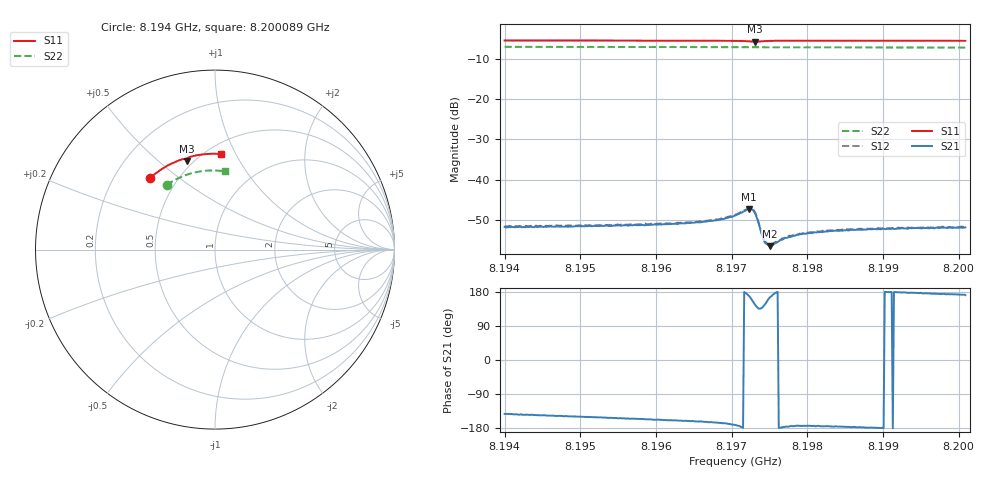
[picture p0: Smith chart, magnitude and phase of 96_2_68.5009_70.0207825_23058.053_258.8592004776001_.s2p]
#  HZ  S  RI  R  50.00
! Rohde & Schwarz Vector Network Analyzer
! Rohde-Schwarz,ZNB20-2Port,1311601062101988,3.16
! Created: UTC 3/20/2024, 4:52:51 PM
! freq[Hz]  re:S11  im:S11  re:S21  im:S21  re:S12  im:S12  re:S22  im:S22
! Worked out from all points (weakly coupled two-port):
!   401 points, 8.194 GHz to 8.200089 GHz, reference 50 ohm
!   highest |S21| = -47.29 dB at 8.197227 GHz (marker M1); lowest = -56.6 dB at 8.197501 GHz (marker M2)
!   lowest |S11| = -5.7 dB at 8.197303 GHz (marker M3), VSWR 3.16, Z = 23.1 + j31.2 ohm
!   |S11| at or under -10 dB: nowhere
!   |S22| runs from -7.2 to -7.0 dB; largest |S21 - S12| = 0.00023
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8.1940004e9  -0.3634 0.3977  -0.00204 -0.00157  -0.00212 -0.00158  -0.2688 0.3598
8.1950202e9  -0.3067 0.4421  -0.00227 -0.00131  -0.00235 -0.00126  -0.2204 0.3896
8.19604e9  -0.244 0.4784  -0.00256 -0.00106  -0.00264 -0.00095  -0.1685 0.4128
8.1966641e9  -0.2025 0.4964  -0.00288 -0.000872  -0.00299 -0.000758  -0.1352 0.424
8.1968467e9  -0.1893 0.5009  -0.00308 -0.000774  -0.00318 -0.000643  -0.1253 0.4267
8.1970446e9  -0.1736 0.5046  -0.00353 -0.000523  -0.00364 -0.000382  -0.1143 0.4293
8.1972273e9  -0.1569 0.5009  -0.00424 0.000812  -0.00427 0.000979  -0.1044 0.4312
8.1972729e9  -0.1557 0.4967  -0.00394 0.00163  -0.00392 0.00185  -0.1019 0.4316
8.1973034e9  -0.1573 0.4945  -0.0033 0.00208  -0.00331 0.00226  -0.1004 0.4321
8.1973338e9  -0.1597 0.4946  -0.00256 0.00215  -0.00249 0.00234  -0.0989 0.4323
8.1973947e9  -0.162 0.5001  -0.00156 0.00146  -0.00151 0.00157  -0.0956 0.4332
8.1974251e9  -0.1609 0.5029  -0.00141 0.00106  -0.00139 0.00115  -0.094 0.4335
8.1974556e9  -0.1592 0.5055  -0.00139 0.000777  -0.00141 0.000847  -0.0922 0.4339
8.1975012e9  -0.1559 0.5086  -0.00143 0.000392  -0.00147 0.000483  -0.0897 0.4344
8.1975317e9  -0.1533 0.5102  -0.00151 0.000287  -0.00156 0.000341  -0.088 0.4345
8.1976687e9  -0.1425 0.5151  -0.00178 -8.33e-05  -0.00187 -2.03e-05  -0.0802 0.4359
8.1977752e9  -0.1344 0.5178  -0.00191 -0.000181  -0.00198 -8.39e-05  -0.0743 0.4368
8.1979274e9  -0.1232 0.5207  -0.00209 -0.000213  -0.00213 -0.000159  -0.0659 0.4379
8.1980644e9  -0.1134 0.5231  -0.00214 -0.000221  -0.00221 -0.000167  -0.0581 0.4388
8.1985363e9  -0.0796 0.529  -0.00233 -0.000141  -0.00241 -6.33e-05  -0.0316 0.4407
8.1990842e9  -0.0406 0.5328  -0.00245 4.85e-05  -0.00249 0.00015  -0.000523 0.4407
8.2000888e9  0.0307 0.5323  -0.00252 0.000391  -0.0025 0.000492  0.0561 0.4354
